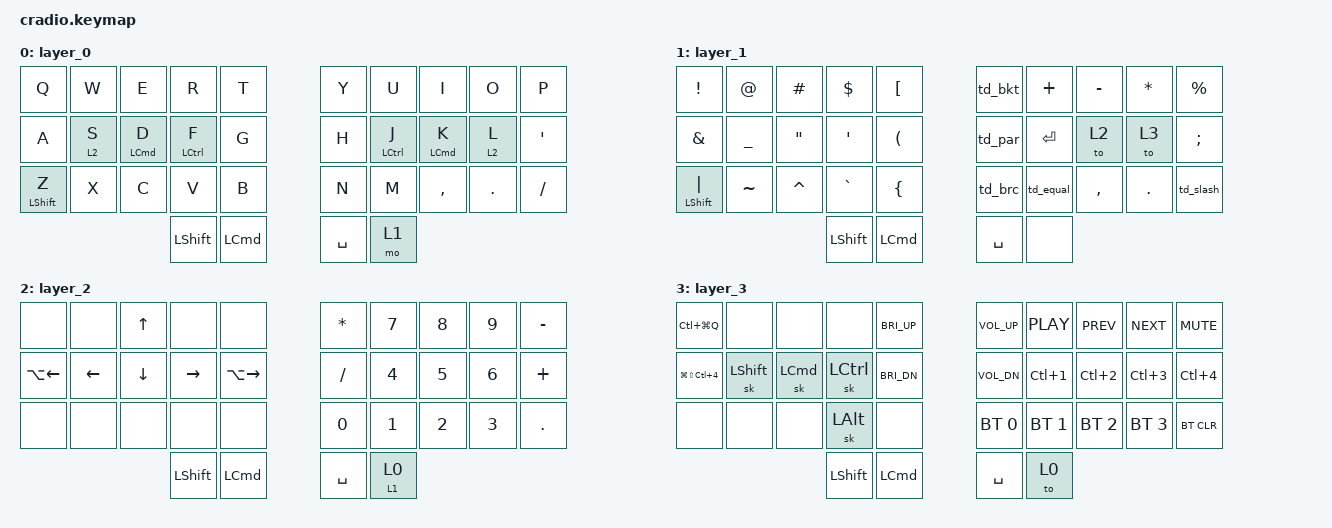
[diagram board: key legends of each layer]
#include <behaviors.dtsi>
#include <dt-bindings/zmk/keys.h>
#include <dt-bindings/zmk/bt.h>

#define L0 0
#define L1 1
#define L2 2
#define L3 3

#define KEYS_R 5 6 7 8 9 15 16 17 18 19 25 26 27 28 29 32 33
#define KEYS_L 0 1 2 3 4 10 11 12 13 14 20 21 22 23 24 30 31

&sk {
  release-after-ms = <5000>;
};

/ { 
  macros {
    /**
     * Macro for typing the `!=` combination.
     */
    excl_eq: excl_eq {
      label = "EXCL_EQ";
      compatible = "zmk,behavior-macro";
      #binding-cells = <0>;
      bindings = <&kp EXCL &kp EQUAL>;
    };

    /**
     * Macro for typing the `[]` combination.
     */
    bkt_open_close: bkt_open_close {
      label = "BKT_OPEN_CLOSE";
      compatible = "zmk,behavior-macro";
      #binding-cells = <0>;
      bindings = <&kp LBKT &kp RBKT>;
    };

    /**
     * Macro for typing the `()` combination.
     */
    par_open_close: par_open_close {
      label = "PAR_OPEN_CLOSE";
      compatible = "zmk,behavior-macro";
      #binding-cells = <0>;
      bindings = <&kp LPAR &kp RPAR>;
    };

    /**
     * Macro for typing the `{}` combination.
     */
    brc_open_close: brc_open_close {
      label = "BRC_OPEN_CLOSE";
      compatible = "zmk,behavior-macro";
      #binding-cells = <0>;
      bindings = <&kp LBRC &kp RBRC>;
    };
  };

  behaviors {
    /**
     * Left hand positional hold tap, used for home block modifiers
     */
    lhr: left_hand_positional_hold_tap {
        compatible = "zmk,behavior-hold-tap";
        label = "LEFT_POSITIONAL_HOLD_TAP";
        #binding-cells = <2>;
        flavor = "balanced";
        tapping-term-ms = <300>;
        quick-tap-ms = <200>;
        global-quick-tap;
        bindings = <&kp>, <&kp>;
        hold-trigger-key-positions = <KEYS_R>;
        hold-trigger-on-release;
    };

    /**
     * Right hand positional hold tap, used for home block modifiers
     */
    rhr: right_hand_positional_hold_tap {
        compatible = "zmk,behavior-hold-tap";
        label = "RIGHT_POSITIONAL_HOLD_TAP";
        #binding-cells = <2>;
        flavor = "balanced";
        tapping-term-ms = <300>;
        quick-tap-ms = <200>;
        global-quick-tap;
        bindings = <&kp>, <&kp>;
        hold-trigger-key-positions = <KEYS_L>;
        hold-trigger-on-release;
    };

    /**
     * Left hand positional layer-tap, used for home block modifiers
     */
    lhrl: left_hand_positional_momentary_layer_tap {
        compatible = "zmk,behavior-hold-tap";
        label = "LEFT_POSITIONAL_MOMENTARY_LAYER_TAP";
        #binding-cells = <2>;
        flavor = "balanced";
        tapping-term-ms = <300>;
        quick-tap-ms = <200>;
        global-quick-tap;
        bindings = <&mo>, <&kp>;
        hold-trigger-key-positions = <KEYS_R>;
    };

    /**
     * Right hand positional layer-tap, used for home block modifiers
     */
    rhrl: right_hand_positional_momentary_layer_tap {
        compatible = "zmk,behavior-hold-tap";
        label = "RIGHT_POSITIONAL_MOMENTARY_LAYER_TAP";
        #binding-cells = <2>;
        flavor = "balanced";
        tapping-term-ms = <300>;
        quick-tap-ms = <200>;
        global-quick-tap;
        bindings = <&mo>, <&kp>;
        hold-trigger-key-positions = <KEYS_L>;
    };

    /**
     * To-Layer on tap, Momentary-on-Hold behavior
     */
    tml: to_layer_tap_momentary_hold {
        compatible = "zmk,behavior-hold-tap";
        label = "TO_LAYER_TAP_MOMENTARY_HOLD";
        #binding-cells = <2>;
        flavor = "hold-preferred";
        tapping-term-ms = <300>;
        bindings = <&mo>, <&to>;
    };

    /**
     * Key press `[` on single tap or key press `[]` on double tap.
     */
    td_bkt: tap_dance_bkt {
      compatible = "zmk,behavior-tap-dance";
      label = "TAP_DANCE_BKT";
      #binding-cells = <0>;
      tapping-term-ms = <200>;
      bindings = <&kp RBKT>, <&bkt_open_close>;
    };

    /**
     * Key press `(` on single tap or key press `()` on double tap.
     */
    td_par: tap_dance_par {
      compatible = "zmk,behavior-tap-dance";
      label = "TAP_DANCE_PAR";
      #binding-cells = <0>;
      tapping-term-ms = <200>;
      bindings = <&kp RPAR>, <&par_open_close>;
    };

    /**
     * Key press `{` on single tap or key press `{}` on double tap.
     */
    td_brc: tap_dance_brc {
      compatible = "zmk,behavior-tap-dance";
      label = "TAP_DANCE_BRC";
      #binding-cells = <0>;
      tapping-term-ms = <200>;
      bindings = <&kp RBRC>, <&brc_open_close>;
    };

    /**
     * Key press `!` on single tap or macro in `!=` on double tap.
     */
    td_equal: tap_dance_equal {
      compatible = "zmk,behavior-tap-dance";
      label = "TAP_DANCE_EQUAL";
      #binding-cells = <0>;
      tapping-term-ms = <200>;
      bindings = <&kp EQUAL>, <&excl_eq>;
    };

    /**
     * Key press `/` on single tap or key press `\` on double tap.
     */
    td_slash: td_slash {
      compatible = "zmk,behavior-tap-dance";
      label = "TAP_DANCE_SLASH";
      #binding-cells = <0>;
      tapping-term-ms = <200>;
      bindings = <&kp SLASH>, <&kp BACKSLASH>;
    };
  };

  combos {
    compatible = "zmk,combos";

    /**
     * Key press `LCTRL + B` to enter tmux mode when keys 11 (S) and 12 (D) are tapped.
     *
     * Only enabled for layers 0 (base layer), 1 (icons and nums layers) and 2 (controls layer).
     */
    tmux {
      timeout-ms = <20>;
      key-positions = <11 12>;
      bindings = <&kp LC(B)>;
      layers = <0>;
    };

    /**
     * Key press `ESC` when keys 0 (Q) and 1 (W) are tapped.
     */
    escape_key {
      timeout-ms = <20>;
      key-positions = <0 1>;
      bindings = <&kp ESC>;
      //layers = <0 2>;
    };

    /**
     * Key press `TAB' when keys 17 (K) and 18 (L) are tapped.
     */
    tab_key {
      timeout-ms = <20>;
      key-positions = <17 18>;
      bindings = <&kp TAB>;
      layers = <0 2>;
    };

    l_tab_key {
      timeout-ms = <20>;
      key-positions = <10 11>;
      bindings = <&kp TAB>;
      layers = <0 2>;
    };

    /**
     * Bring up emojis menu in OS X when keys 16 (J) and 17 (K) are tapped
     */
    emojis_key {
      timeout-ms = <20>;
      key-positions = <16 17>;
      bindings = <&kp LG(LC(SPACE))>;
      layers = <0>;
    };

    /**
     * Alternative backspace conbo
     */
    combo_bksp {
      timeout-ms = <20>;
      key-positions = <18 19>;
      bindings = <&kp BKSP>;
      layers = <0>;
    };

    l_alt_key {
      timeout-ms = <20>;
      key-positions = <12 13>;
      bindings = <&kp LALT>;
    };
  };

  keymap {
    compatible = "zmk,keymap";

    /**
     * Alpha layer (L0)
     */
    layer_0 {
      bindings = <
        &kp Q            &kp W       &kp E        &kp R         &kp T           &kp Y       &kp U         &kp I        &kp O       &kp P
        &kp A            &lhrl L2 S  &lhr LCMD D  &lhr LCTRL F  &kp G           &kp H       &rhr LCTRL J  &rhr LCMD K  &rhrl L2 L  &kp SQT
        &lhr LSHIFT Z    &kp X       &kp C        &kp V         &kp B           &kp N       &kp M         &kp COMMA    &kp DOT     &kp SLASH
                                          &kp LSHIFT      &kp LCMD           &kp SPACE   &mo L1
      >;
    };

    /**
     * Symbols layer (L1)
     */
    layer_1 {
      bindings = <
        &kp EXCL          &kp AT     &kp HASH   &kp DOLLAR  &kp LBKT       &td_bkt  &kp PLUS   &kp MINUS  &kp ASTRK  &kp PRCNT
        &kp AMPS          &kp UNDER  &kp DQT    &kp SQT     &kp LPAR       &td_par  &kp ENTER  &to L2     &to L3     &kp SEMI
        &lhr LSHIFT PIPE  &kp TILDE  &kp CARET  &kp GRAVE   &kp LBRC       &td_brc  &td_equal  &kp COMMA  &kp DOT    &td_slash
                                     &kp LSHIFT      &kp LCMD      &kp SPACE        &none
      >;
    };

    /**
     * Number and directions layer (L2)
     */
    layer_2 {
      bindings = <
        &none         &none     &kp UP    &none      &none             &kp ASTRK   &kp N7      &kp N8  &kp N9  &kp MINUS
        &kp LA(LEFT)  &kp LEFT  &kp DOWN  &kp RIGHT  &kp LA(RIGHT)     &kp SLASH   &kp N4      &kp N5  &kp N6  &kp PLUS
        &none         &none     &none     &none      &none             &kp N0      &kp N1      &kp N2  &kp N3  &kp DOT
                                       &kp LSHIFT      &kp LCMD        &kp SPACE   &tml L1 L0
      >;
    };

    /**
     * Controls layer that contains OS controls (bluetooth, mute, play, etc.) and modifiers (L3)
     */
    layer_3 {
      bindings = <
        &kp LC(LG(Q))      &none      &none     &none      &kp C_BRI_UP     &kp C_VOL_UP  &kp C_PLAY    &kp C_PREV    &kp C_NEXT    &kp C_MUTE
        &kp LG(LS(LC(N4))) &sk LSHFT  &sk LCMD  &sk LCTRL  &kp C_BRI_DN     &kp C_VOL_DN  &kp LC(N1)    &kp LC(N2)    &kp LC(N3)    &kp LC(N4)
        &none              &none      &none     &sk LALT   &none            &bt BT_SEL 0  &bt BT_SEL 1  &bt BT_SEL 2  &bt BT_SEL 3  &bt BT_CLR
                                         &kp LSHIFT      &kp LCMD       &kp SPACE     &to L0
      >;
    };
  };
};
